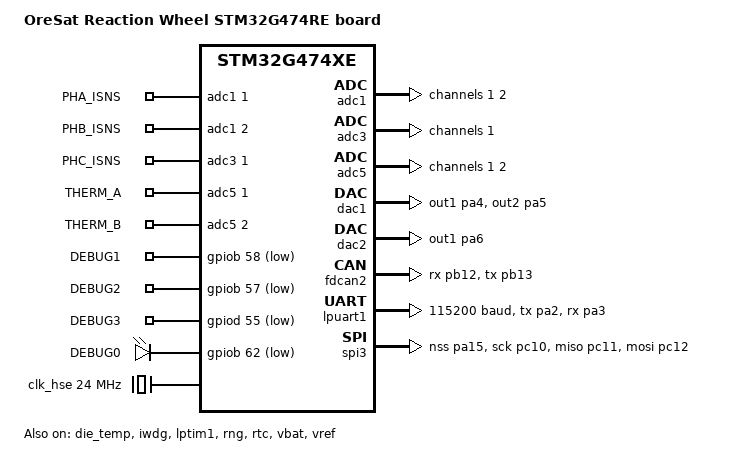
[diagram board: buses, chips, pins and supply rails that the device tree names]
/*
RW 7.2 device tree

As of Nov 2024, Zephyr does not support HRTIM (High-Resolution Timers) for PWM.
So all HRTIM pins are configured via src/cube/hrtim.* (Generate CubeMX code).
Pins this includes:
- PC6: PHC_H
- PC7: PHC_L
- PC8: PHB_H
- PC9: PHB_L
- PA10: PHA_H
- PA11: PHA_L
*/

/dts-v1/;
#include <st/g4/stm32g474Xe.dtsi>
#include <st/g4/stm32g474r(b-c-e)tx-pinctrl.dtsi>
#include <zephyr/dt-bindings/input/input-event-codes.h>

/ {
	model = "OreSat Reaction Wheel STM32G474RE board";
	compatible = "oresat,reaction_wheel";

	chosen {
		zephyr,console = &lpuart1;
		zephyr,shell-uart = &lpuart1;
		zephyr,sram = &sram0;
		zephyr,flash = &flash0;
		zephyr,canbus = &fdcan2;
		zephyr,code-partition = &slot0_partition;
	};

	zephyr,user {
		io-channels = <&adc1 1>, <&adc1 2>, <&adc3 1>, <&adc5 1>, <&adc5 2>;
		io-channel-names = "PHA_ISNS", "PHB_ISNS", "PHC_ISNS", "THERM_A", "THERM_B";
	};

	gpio_inputs {
		compatible = "gpio-keys";
		debug1: debug_1 {
			gpios = <&gpiob 58 GPIO_ACTIVE_LOW>;
			label = "DEBUG1";
		};
		debug2: debug_2 {
			gpios = <&gpiob 57 GPIO_ACTIVE_LOW>;
			label = "DEBUG2";
		};
		debug3: debug_3 {
			gpios = <&gpiod 55 GPIO_ACTIVE_LOW>;
			label = "DEBUG3";
		};
	};

	gpio_outputs {
		compatible = "gpio-leds";
		debug0: debug_0 {
			gpios = <&gpiob 62 GPIO_ACTIVE_LOW>;
			label = "DEBUG0";
		};
	};

	aliases {
		watchdog0 = &iwdg;
		die-temp0 = &die_temp;
		volt-sensor0 = &vref;
		volt-sensor1 = &vbat;
	};
};

&adc1 {
	status = "okay";
	#address-cells = <1>;
	#size-cells = <0>;
	st,adc-clock-source = <SYNC>;
	st,adc-prescaler = <4>;

	channel@1 { /* PHA_ISNS */
		reg = <1>;
		zephyr,gain = "ADC_GAIN_1";
		zephyr,reference = "ADC_REF_INTERNAL";
		zephyr,acquisition-time = <ADC_ACQ_TIME_DEFAULT>;
		zephyr,resolution = <12>;
	};

	channel@2 { /* PHB_ISNS */
		reg = <2>;
		zephyr,gain = "ADC_GAIN_1";
		zephyr,reference = "ADC_REF_INTERNAL";
		zephyr,acquisition-time = <ADC_ACQ_TIME_DEFAULT>;
		zephyr,resolution = <12>;
	};
};

&adc2 {
	status = "disabled";
};

&adc3 {
	status = "okay";
	#address-cells = <1>;
	#size-cells = <0>;
	st,adc-clock-source = <SYNC>;
	st,adc-prescaler = <4>;

	channel@1 { /* PHC_ISNS */
		reg = <1>;
		zephyr,gain = "ADC_GAIN_1";
		zephyr,reference = "ADC_REF_INTERNAL";
		zephyr,acquisition-time = <ADC_ACQ_TIME_DEFAULT>;
		zephyr,resolution = <12>;
	};
};

&adc4 {
	status = "disabled";
};

&adc5 {
	status = "okay";
	#address-cells = <1>;
	#size-cells = <0>;
	st,adc-clock-source = <SYNC>;
	st,adc-prescaler = <4>;

	channel@1 { /* THERM_A */
		reg = <1>;
		zephyr,gain = "ADC_GAIN_1";
		zephyr,reference = "ADC_REF_INTERNAL";
		zephyr,acquisition-time = <ADC_ACQ_TIME_DEFAULT>;
		zephyr,resolution = <12>;
	};

	channel@2 { /* THERM_B */
		reg = <2>;
		zephyr,gain = "ADC_GAIN_1";
		zephyr,reference = "ADC_REF_INTERNAL";
		zephyr,acquisition-time = <ADC_ACQ_TIME_DEFAULT>;
		zephyr,resolution = <12>;
	};
};

&clk_hse {
	clock-frequency = <DT_FREQ_M(24)>;
	status = "okay";
};

&clk_hsi48 {
	status = "okay";
};

&clk_lsi {
	status = "okay";
};

&dac1 {
	pinctrl-0 = <&dac1_out1_pa4 &dac1_out2_pa5>; /* SCOPE0 and SCOPE1 */
	pinctrl-names = "default";
	status = "okay";
};

&dac2 {
	pinctrl-0 = <&dac2_out1_pa6>; /* SCOPE2 */
	pinctrl-names = "default";
	status = "okay";
};

&dac3 {
	status = "disabled";
};

&dac4 {
	status = "disabled";
};

&die_temp {
	status = "okay";
};

&fdcan1 {
	status = "disabled";
};

&fdcan2 {
	pinctrl-0 = <&fdcan2_rx_pb12 &fdcan2_tx_pb13>;
	pinctrl-names = "default";
	status = "okay";
};

&fdcan3 {
	status = "disabled";
};

&flash0 {
	partitions {
		compatible = "fixed-partitions";
		#address-cells = <1>;
		#size-cells = <1>;

		boot_partition: partition@0 {
			label = "mcuboot";
			reg = <0x00000000 DT_SIZE_K(34)>;
		};
		slot0_partition: partition@8800 {
			label = "image-0";
			reg = <0x00008800 DT_SIZE_K(240)>;
		};
		slot1_partition: partition@44800 {
			label = "image-1";
			reg = <0x00044800 DT_SIZE_K(234)>;
		};
		/* Set 4Kb of storage at the end of the 512Kb of flash */
		storage_partition: partition@7f000 {
			label = "storage";
			reg = <0x0007f000 DT_SIZE_K(4)>;
		};
	};
};

&i2c1 {
	status = "disabled";
};

&i2c2 {
	status = "disabled";
};

&i2c3 {
	status = "disabled";
};

&iwdg {
	status = "okay";
};

stm32_lp_tick_source: &lptim1 {
	clocks = <&rcc STM32_CLOCK_BUS_APB1 0x80000000>,
		<&rcc STM32_SRC_LSI LPTIM1_SEL(1)>;
	status = "okay";
};

&lpuart1 {
	pinctrl-0 = <&lpuart1_tx_pa2 &lpuart1_rx_pa3>;
	pinctrl-1 = <&analog_pa2 &analog_pa3>;
	pinctrl-names = "default", "sleep";
	current-speed = <115200>;
	status = "okay";
};

&pll {
	div-m = <6>;
	mul-n = <85>;
	div-p = <7>;
	div-q = <2>;
	div-r = <2>;
	clocks = <&clk_hse>;
	status = "okay";
};

&rcc {
	clocks = <&pll>;
	clock-frequency = <DT_FREQ_M(170)>;
	ahb-prescaler = <1>;
	apb1-prescaler = <1>;
	apb2-prescaler = <1>;
};

&rng {
	status = "okay";
};

&rtc {
	clocks = <&rcc STM32_CLOCK_BUS_APB1 0x00000400>,
		 <&rcc STM32_SRC_LSI RTC_SEL(2)>;
	status = "okay";
};

&spi1 {
	status = "disabled";
};

&spi2 {
	status = "disabled"; /* default pins used by fdcan2 */
};

&spi3 {
	pinctrl-0 = <&spi3_nss_pa15 &spi3_sck_pc10 &spi3_miso_pc11 &spi3_mosi_pc12>;
	pinctrl-names = "default";
	status = "okay";
};

&uart4 {
	status = "disabled";
};

&uart5 {
	status = "disabled";
};

&usart1 {
	status = "disabled";
};

&usart2 {
	status = "disabled";
};

&usart3 {
	status = "disabled";
};

&vbat {
	status = "okay";
};

&vref {
	status = "okay";
};
